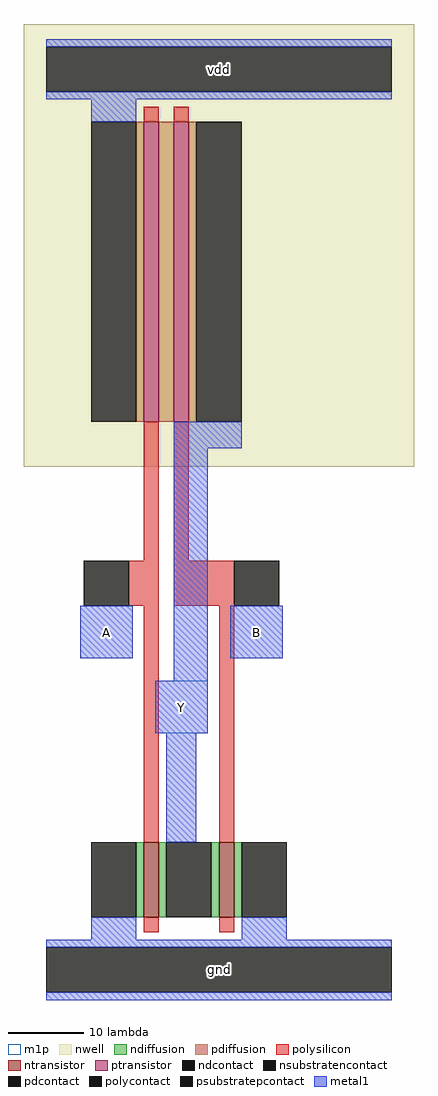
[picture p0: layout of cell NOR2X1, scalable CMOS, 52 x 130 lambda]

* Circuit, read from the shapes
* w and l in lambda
.subckt NOR2X1 A B Y vdd gnd
M1 Y A gnd gnd nfet w=10 l=2
M2 gnd B Y gnd nfet w=10 l=2
M3 n1 A vdd vdd pfet w=40 l=2
M4 Y B n1 vdd pfet w=40 l=2
.ends

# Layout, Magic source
magic
tech scmos
magscale 1 2
<< nwell >>
rect -12 134 92 252
<< ntransistor >>
rect 20 14 24 34
rect 40 14 44 34
<< ptransistor >>
rect 20 146 24 226
rect 28 146 32 226
<< ndiffusion >>
rect 18 14 20 34
rect 24 14 26 34
rect 38 14 40 34
rect 44 14 46 34
<< pdiffusion >>
rect 18 146 20 226
rect 24 146 28 226
rect 32 146 34 226
<< ndcontact >>
rect 6 14 18 34
rect 26 14 38 34
rect 46 14 58 34
<< pdcontact >>
rect 6 146 18 226
rect 34 146 46 226
<< psubstratepcontact >>
rect -6 -6 86 6
<< nsubstratencontact >>
rect -6 234 86 246
<< polysilicon >>
rect 20 226 24 230
rect 28 226 32 230
rect 20 109 24 146
rect 16 97 24 109
rect 28 109 32 146
rect 28 97 44 109
rect 20 34 24 97
rect 40 34 44 97
rect 20 10 24 14
rect 40 10 44 14
<< polycontact >>
rect 4 97 16 109
rect 44 97 56 109
<< metal1 >>
rect -6 246 86 248
rect -6 232 86 234
rect 6 226 18 232
rect 28 139 46 146
rect 3 83 17 97
rect 28 77 37 139
rect 43 83 57 97
rect 23 63 37 77
rect 26 34 34 63
rect 6 8 18 14
rect 46 8 58 14
rect -6 6 86 8
rect -6 -8 86 -6
<< m1p >>
rect 3 83 17 97
rect 43 83 57 97
rect 23 63 37 77
<< labels >>
rlabel metal1 -6 -8 86 8 0 gnd
port 4 nsew ground bidirectional abutment
rlabel metal1 23 63 37 77 0 Y
port 2 nsew signal output
rlabel metal1 -6 232 86 248 0 vdd
port 3 nsew power bidirectional abutment
rlabel metal1 43 83 57 97 0 B
port 1 nsew signal input
rlabel metal1 3 83 17 97 0 A
port 0 nsew signal input
<< properties >>
string FIXED_BBOX 0 0 80 240
string LEFclass CORE
string LEFsite core
string LEFsymmetry X Y
<< end >>
